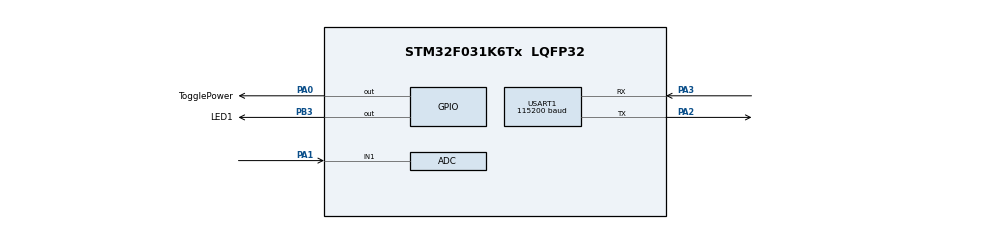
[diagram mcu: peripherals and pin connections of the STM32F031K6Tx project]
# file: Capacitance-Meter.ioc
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Mcu.Family=STM32F0
Mcu.Name=STM32F031K6Tx
Mcu.Package=LQFP32
PA0.GPIO_Label=TogglePower
PA0.Signal=GPIO_Output
PA1.Mode=IN1
PA1.Signal=ADC_IN1
PA13.Mode=Serial_Wire
PA13.Signal=SYS_SWDIO
PA14.Mode=Serial_Wire
PA14.Signal=SYS_SWCLK
PA2.Mode=Asynchronous
PA2.Signal=USART1_TX
PA3.Mode=Asynchronous
PA3.Signal=USART1_RX
PA7.Signal=ADC_IN7
PB3.GPIO_Label=LED1
PB3.Signal=GPIO_Output
ProjectManager.HeapSize=0x200
ProjectManager.StackSize=0x400
ProjectManager.TargetToolchain=STM32CubeIDE
TIM16.Prescaler=8-1
USART1.BaudRate=115200
USART1.VirtualMode-Asynchronous=VM_ASYNC
VP_TIM16_VS_ClockSourceINT.Mode=Enable_Timer
board=custom

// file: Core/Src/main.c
/* USER CODE BEGIN Header */
/**
  ******************************************************************************
  * @file           : main.c
  * @brief          : Main program body
  ******************************************************************************
  * @attention
  *
  * Copyright (c) 2025 STMicroelectronics.
  * All rights reserved.
  *
  * This software is licensed under terms that can be found in the LICENSE file
  * in the root directory of this software component.
  * If no LICENSE file comes with this software, it is provided AS-IS.
  *
  ******************************************************************************
  */
/* USER CODE END Header */
#include "main.h"

/* USER CODE BEGIN Includes */

#include <string.h>
#include <stdio.h>
#include <math.h>
#include <inttypes.h>

/* USER CODE END Includes */

ADC_HandleTypeDef hadc;

TIM_HandleTypeDef htim16;

UART_HandleTypeDef huart1;

/* USER CODE BEGIN PV */

int Time_Constant_Capacitance_Measurement(void);
void Ohmmeter(void);
void Inductance_Meter(void);
void Print_Averaged_ADC_Value(void);
int Get_ADC_Value(void);

/* USER CODE END PV */

void SystemClock_Config(void);
static void MX_GPIO_Init(void);
static void MX_USART1_UART_Init(void);
static void MX_ADC_Init(void);
static void MX_TIM16_Init(void);

int main(void)
{

  /* MCU Configuration--------------------------------------------------------*/

  /* Reset of all peripherals, Initializes the Flash interface and the Systick. */
  HAL_Init();

  /* Configure the system clock */
  SystemClock_Config();

  /* Initialize all configured peripherals */
  MX_GPIO_Init();
  MX_USART1_UART_Init();
  MX_ADC_Init();
  MX_TIM16_Init();
  /* USER CODE BEGIN 2 */

  HAL_TIM_Base_Start(&htim16); // Start the timer for time measurement

  /* USER CODE END 2 */

  /* Infinite loop */
  while (1)
  {

    /* USER CODE BEGIN 3 */

    Print_Averaged_ADC_Value();
  }
  /* USER CODE END 3 */
}

void SystemClock_Config(void)
{
  RCC_OscInitTypeDef RCC_OscInitStruct = {0};
  RCC_ClkInitTypeDef RCC_ClkInitStruct = {0};
  RCC_PeriphCLKInitTypeDef PeriphClkInit = {0};

  /** Initializes the RCC Oscillators according to the specified parameters
  * in the RCC_OscInitTypeDef structure.
  */
  RCC_OscInitStruct.OscillatorType = RCC_OSCILLATORTYPE_HSI|RCC_OSCILLATORTYPE_HSI14;
  RCC_OscInitStruct.HSIState = RCC_HSI_ON;
  RCC_OscInitStruct.HSI14State = RCC_HSI14_ON;
  RCC_OscInitStruct.HSICalibrationValue = RCC_HSICALIBRATION_DEFAULT;
  RCC_OscInitStruct.HSI14CalibrationValue = 16;
  RCC_OscInitStruct.PLL.PLLState = RCC_PLL_NONE;
  if (HAL_RCC_OscConfig(&RCC_OscInitStruct) != HAL_OK)
  {
    Error_Handler();
  }

  /** Initializes the CPU, AHB and APB buses clocks
  */
  RCC_ClkInitStruct.ClockType = RCC_CLOCKTYPE_HCLK|RCC_CLOCKTYPE_SYSCLK
                              |RCC_CLOCKTYPE_PCLK1;
  RCC_ClkInitStruct.SYSCLKSource = RCC_SYSCLKSOURCE_HSI;
  RCC_ClkInitStruct.AHBCLKDivider = RCC_SYSCLK_DIV1;
  RCC_ClkInitStruct.APB1CLKDivider = RCC_HCLK_DIV1;

  if (HAL_RCC_ClockConfig(&RCC_ClkInitStruct, FLASH_LATENCY_0) != HAL_OK)
  {
    Error_Handler();
  }
  PeriphClkInit.PeriphClockSelection = RCC_PERIPHCLK_USART1;
  PeriphClkInit.Usart1ClockSelection = RCC_USART1CLKSOURCE_PCLK1;
  if (HAL_RCCEx_PeriphCLKConfig(&PeriphClkInit) != HAL_OK)
  {
    Error_Handler();
  }
}

static void MX_ADC_Init(void)
{

  ADC_ChannelConfTypeDef sConfig = {0};

  /** Configure the global features of the ADC (Clock, Resolution, Data Alignment and number of conversion)
  */
  hadc.Instance = ADC1;
  hadc.Init.ClockPrescaler = ADC_CLOCK_ASYNC_DIV1;
  hadc.Init.Resolution = ADC_RESOLUTION_12B;
  hadc.Init.DataAlign = ADC_DATAALIGN_RIGHT;
  hadc.Init.ScanConvMode = ADC_SCAN_DIRECTION_FORWARD;
  hadc.Init.EOCSelection = ADC_EOC_SINGLE_CONV;
  hadc.Init.LowPowerAutoWait = DISABLE;
  hadc.Init.LowPowerAutoPowerOff = DISABLE;
  hadc.Init.ContinuousConvMode = DISABLE;
  hadc.Init.DiscontinuousConvMode = DISABLE;
  hadc.Init.ExternalTrigConv = ADC_SOFTWARE_START;
  hadc.Init.ExternalTrigConvEdge = ADC_EXTERNALTRIGCONVEDGE_NONE;
  hadc.Init.DMAContinuousRequests = DISABLE;
  hadc.Init.Overrun = ADC_OVR_DATA_PRESERVED;
  if (HAL_ADC_Init(&hadc) != HAL_OK)
  {
    Error_Handler();
  }

  /** Configure for the selected ADC regular channel to be converted.
  */
  sConfig.Channel = ADC_CHANNEL_1;
  sConfig.Rank = ADC_RANK_CHANNEL_NUMBER;
  sConfig.SamplingTime = ADC_SAMPLETIME_1CYCLE_5;
  if (HAL_ADC_ConfigChannel(&hadc, &sConfig) != HAL_OK)
  {
    Error_Handler();
  }

}

static void MX_TIM16_Init(void)
{

  htim16.Instance = TIM16;
  htim16.Init.Prescaler = 8-1;
  htim16.Init.CounterMode = TIM_COUNTERMODE_UP;
  htim16.Init.Period = 65535;
  htim16.Init.ClockDivision = TIM_CLOCKDIVISION_DIV1;
  htim16.Init.RepetitionCounter = 0;
  htim16.Init.AutoReloadPreload = TIM_AUTORELOAD_PRELOAD_DISABLE;
  if (HAL_TIM_Base_Init(&htim16) != HAL_OK)
  {
    Error_Handler();
  }

}

static void MX_USART1_UART_Init(void)
{

  huart1.Instance = USART1;
  huart1.Init.BaudRate = 115200;
  huart1.Init.WordLength = UART_WORDLENGTH_8B;
  huart1.Init.StopBits = UART_STOPBITS_1;
  huart1.Init.Parity = UART_PARITY_NONE;
  huart1.Init.Mode = UART_MODE_TX_RX;
  huart1.Init.HwFlowCtl = UART_HWCONTROL_NONE;
  huart1.Init.OverSampling = UART_OVERSAMPLING_16;
  huart1.Init.OneBitSampling = UART_ONE_BIT_SAMPLE_DISABLE;
  huart1.AdvancedInit.AdvFeatureInit = UART_ADVFEATURE_NO_INIT;
  if (HAL_UART_Init(&huart1) != HAL_OK)
  {
    Error_Handler();
  }

}

static void MX_GPIO_Init(void)
{
  GPIO_InitTypeDef GPIO_InitStruct = {0};

  /* GPIO Ports Clock Enable */
  __HAL_RCC_GPIOA_CLK_ENABLE();
  __HAL_RCC_GPIOB_CLK_ENABLE();

  /*Configure GPIO pin Output Level */
  HAL_GPIO_WritePin(TogglePower_GPIO_Port, TogglePower_Pin, GPIO_PIN_RESET);

  /*Configure GPIO pin Output Level */
  HAL_GPIO_WritePin(LED1_GPIO_Port, LED1_Pin, GPIO_PIN_RESET);

  /*Configure GPIO pin : TogglePower_Pin */
  GPIO_InitStruct.Pin = TogglePower_Pin;
  GPIO_InitStruct.Mode = GPIO_MODE_OUTPUT_PP;
  GPIO_InitStruct.Pull = GPIO_NOPULL;
  GPIO_InitStruct.Speed = GPIO_SPEED_FREQ_LOW;
  HAL_GPIO_Init(TogglePower_GPIO_Port, &GPIO_InitStruct);

  /*Configure GPIO pin : LED1_Pin */
  GPIO_InitStruct.Pin = LED1_Pin;
  GPIO_InitStruct.Mode = GPIO_MODE_OUTPUT_PP;
  GPIO_InitStruct.Pull = GPIO_NOPULL;
  GPIO_InitStruct.Speed = GPIO_SPEED_FREQ_LOW;
  HAL_GPIO_Init(LED1_GPIO_Port, &GPIO_InitStruct);

}

/* USER CODE BEGIN 4 */

int iters = 0;
int itersMax = 100;
uint32_t adcValues[100] = {0};
uint16_t times[1] = {0};

// Output in nC
int Time_Constant_Capacitance_Measurement(void) {
  // First charge for 0.1s
  // Record for 1s and output over uart

  if (HAL_GetTick() < 1000){
    HAL_GPIO_WritePin(TogglePower_GPIO_Port, TogglePower_Pin, GPIO_PIN_RESET);
    return 0;
  }

  HAL_GPIO_WritePin(TogglePower_GPIO_Port, TogglePower_Pin, GPIO_PIN_SET);

  iters++;

  HAL_ADC_Start(&hadc);
  HAL_ADC_PollForConversion(&hadc, HAL_MAX_DELAY);
  adcValues[iters - 1] = HAL_ADC_GetValue(&hadc);
  HAL_ADC_Stop(&hadc);

  times[iters - 1] = __HAL_TIM_GET_COUNTER(&htim16);

  int total_length_written = 0;
  if (iters % itersMax == 0){
    char buffer[2000];
    for (int i = 0; i < itersMax; i++){
      int length_written = snprintf(buffer + total_length_written, sizeof(buffer) - total_length_written, "%u,%lu\r\n", times[i], adcValues[i]);
      total_length_written += length_written;
    }
    iters = 0;

    HAL_UART_Transmit(&huart1, (uint8_t*)buffer, total_length_written, HAL_MAX_DELAY);
  }
}

void Ohmmeter(void){
  HAL_GPIO_WritePin(TogglePower_GPIO_Port, TogglePower_Pin, GPIO_PIN_RESET);

  iters++;

  HAL_ADC_Start(&hadc);
  HAL_ADC_PollForConversion(&hadc, HAL_MAX_DELAY);
  adcValues[iters - 1] = HAL_ADC_GetValue(&hadc);
  HAL_ADC_Stop(&hadc);

  times[iters - 1] = __HAL_TIM_GET_COUNTER(&htim16);

  int total_length_written = 0;
  if (iters % itersMax == 0){
    char buffer[2000];
    for (int i = 0; i < itersMax; i++){
      int length_written = snprintf(buffer + total_length_written, sizeof(buffer) - total_length_written, "%u,%lu\r\n", times[i], adcValues[i]);
      total_length_written += length_written;
    }
    iters = 0;

    HAL_UART_Transmit(&huart1, (uint8_t*)buffer, total_length_written, HAL_MAX_DELAY);
  }
}

void Inductance_Meter(void){
  if (HAL_GetTick() < 1000){
    HAL_GPIO_WritePin(TogglePower_GPIO_Port, TogglePower_Pin, GPIO_PIN_RESET);
  } else {
    HAL_GPIO_WritePin(TogglePower_GPIO_Port, TogglePower_Pin, GPIO_PIN_SET);
  }

  iters++;

  HAL_ADC_Start(&hadc);
  HAL_ADC_PollForConversion(&hadc, HAL_MAX_DELAY);
  adcValues[iters - 1] = HAL_ADC_GetValue(&hadc);
  HAL_ADC_Stop(&hadc);

  times[iters - 1] = __HAL_TIM_GET_COUNTER(&htim16);

  int total_length_written = 0;
  if (iters % itersMax == 0){
    char buffer[2000];
    for (int i = 0; i < itersMax; i++){
      int length_written = snprintf(buffer + total_length_written, sizeof(buffer) - total_length_written, "%u,%lu\r\n", times[i], adcValues[i]);
      total_length_written += length_written;
    }
    iters = 0;

    HAL_UART_Transmit(&huart1, (uint8_t*)buffer, total_length_written, HAL_MAX_DELAY);
  }
}

void Print_Averaged_ADC_Value(void) {
  // First, collect 100 samples in array
  // when full, calculate average and print to UART

  iters++;
  adcValues[iters - 1] = Get_ADC_Value();

  if (iters % itersMax == 0){
    // Calculate average
    uint32_t sum = 0;
    for (int i = 0; i < itersMax; i++){
      sum += adcValues[i];
    }
    int average = sum / itersMax;

    // Print to UART
    char buffer[50];
    int length_written = snprintf(buffer, sizeof(buffer), "Average ADC Value: %d\r\n", average);
    HAL_UART_Transmit(&huart1, (uint8_t*)buffer, length_written, HAL_MAX_DELAY);

    iters = 0; // Reset the counter
  }
}

int Get_ADC_Value(void){
  HAL_ADC_Start(&hadc);
  HAL_ADC_PollForConversion(&hadc, HAL_MAX_DELAY);
  int64_t adcValue = (int64_t)HAL_ADC_GetValue(&hadc);
  HAL_ADC_Stop(&hadc);

  if (adcValue == 0) {
    return 0;
  }

  //int adcErrorTerm = (int)(2.994 + (1.730E-01 * adcValue) - (1.295E-04 * pow(adcValue, 2)) + (1.613E-08 * pow(adcValue, 3)));

  // All constant multiplied by 1E11 to avoid floating point arithmetic
  int64_t preadcErrorTerm = (int64_t)(299400000000 + (17300000000 * adcValue) - (12950000 * adcValue * adcValue) + (1613 * adcValue * adcValue * adcValue));
  //adcErrorTerm = adcErrorTerm / 1E11;
  //int64_t adcErrorTerm = 0;

  int32_t adcErrorTerm = (int32_t)(preadcErrorTerm / 1E11);

  // max: 922337200000000000
  int64_t term1 = (int64_t)2994000000000LL;
  int64_t term2 = (int64_t)17300000000LL * (int64_t)adcValue;
  int64_t term3 = (int64_t)12950000LL * (int64_t)adcValue * (int64_t)adcValue;
  int64_t term4 = (int64_t)1613LL * (int64_t)adcValue * (int64_t)adcValue * (int64_t)adcValue;

  // Log only each 64-bit component
  char buffer[200];
  int length_written = snprintf(buffer, sizeof(buffer),
    "ADC: %ld, T1: %lu|%lu, T2: %lu|%lu, T3: %lu|%lu, T4: %lu|%lu\r\n",
    adcErrorTerm,
    (uint32_t)(term1 >> 32), (uint32_t)(term1),
    (uint32_t)(term2 >> 32), (uint32_t)(term2),
    (uint32_t)(term3 >> 32), (uint32_t)(term3),
    (uint32_t)(term4 >> 32), (uint32_t)(term4)
  );
  HAL_UART_Transmit(&huart1, (uint8_t*)buffer, length_written, HAL_MAX_DELAY);

  if (adcValue - adcErrorTerm > 5000){
    return 0;
  }

  return adcValue - adcErrorTerm;
}

/* USER CODE END 4 */

void Error_Handler(void)
{
  __disable_irq();
  while (1)
  {
  }
}
